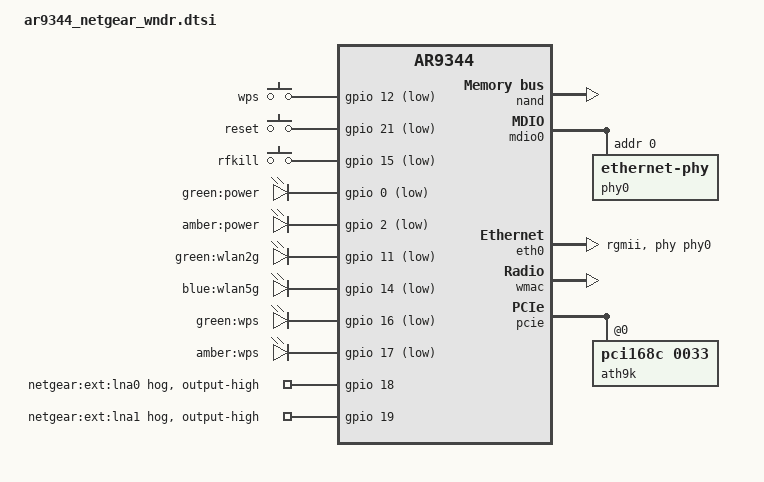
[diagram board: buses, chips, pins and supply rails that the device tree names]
// SPDX-License-Identifier: GPL-2.0-or-later OR MIT

#include "ar9344.dtsi"

#include <dt-bindings/gpio/gpio.h>
#include <dt-bindings/input/input.h>
#include <dt-bindings/mtd/partitions/uimage.h>

/ {
	chosen {
		bootargs = "console=ttyS0,115200n8";
	};

	aliases {
		led-boot = &led_power_amber;
		led-failsafe = &led_power_amber;
		led-running = &led_power_green;
		led-upgrade = &led_power_amber;
		label-mac-device = &eth0;
	};

	keys {
		compatible = "gpio-keys";

		wps {
			label = "wps";
			linux,code = <KEY_WPS_BUTTON>;
			gpios = <&gpio 12 GPIO_ACTIVE_LOW>;
		};

		reset {
			label = "reset";
			linux,code = <KEY_RESTART>;
			gpios = <&gpio 21 GPIO_ACTIVE_LOW>;
		};

		rfkill {
			label = "rfkill";
			linux,code = <KEY_RFKILL>;
			gpios = <&gpio 15 GPIO_ACTIVE_LOW>;
		};
	};

	leds: leds {
		compatible = "gpio-leds";

		pinctrl-names = "default";
		pinctrl-0 = <&enable_gpio_11>;

		led_power_green: power_green {
			label = "green:power";
			gpios = <&gpio 0 GPIO_ACTIVE_LOW>;
		};

		led_power_amber: power_amber {
			label = "amber:power";
			gpios = <&gpio 2 GPIO_ACTIVE_LOW>;
			default-state = "keep";
		};

		wlan2g_green {
			label = "green:wlan2g";
			gpios = <&gpio 11 GPIO_ACTIVE_LOW>;
			linux,default-trigger = "phy0tpt";
		};

		wlan5g_blue {
			label = "blue:wlan5g";
			gpios = <&gpio 14 GPIO_ACTIVE_LOW>;
			linux,default-trigger = "phy1tpt";
		};

		wps_green {
			label = "green:wps";
			gpios = <&gpio 16 GPIO_ACTIVE_LOW>;
		};

		wps_amber {
			label = "amber:wps";
			gpios = <&gpio 17 GPIO_ACTIVE_LOW>;
		};
	};

	ubi-concat {
		compatible = "mtd-concat";
		devices = <&ubiconcat0 &ubiconcat1>;

		partitions {
			compatible = "fixed-partitions";
			#address-cells = <1>;
			#size-cells = <1>;

			ubi@ac0000 {
				label = "ubi";
				reg = <0x0 0x7500000>;
			};
		};
	};
};

&pinmux {
	enable_gpio_11: pinmux_enable_gpio_11 {
		pinctrl-single,bits = <0x8 0x0 0xff000000>;
	};
};

&nand {
	status = "okay";

	partitions {
		compatible = "fixed-partitions";
		#address-cells = <1>;
		#size-cells = <1>;

		partition@0 {
			label = "u-boot";
			reg = <0x0 0x40000>;
			read-only;
		};

		partition@40000 {
			label = "u-boot-env";
			reg = <0x40000 0x40000>;
		};

		caldata: partition@80000 {
			label = "caldata";
			reg = <0x80000 0x40000>;
			read-only;
		};

		partition@c0000 {
			label = "pot";
			reg = <0xc0000 0x80000>;
		};

		partition@140000 {
			label = "language";
			reg = <0x140000 0x200000>;
		};

		partition@340000 {
			label = "config";
			reg = <0x340000 0x80000>;
		};

		partition@3c0000 {
			label = "traffic_meter";
			reg = <0x3c0000 0x300000>;
		};

		kernel@6c0000 {
			label = "kernel";
			reg = <0x6c0000 0x400000>;
		};

		ubiconcat0: partition@ac0000 {
			label = "ubiconcat0";
			reg = <0xac0000 0x1500000>;
		};

		partition@6c0000 {
			label = "firmware";
			reg = <0x6c0000 0x1900000>;
			compatible = "openwrt,uimage", "denx,uimage";
			openwrt,ih-magic = <0x33373033>;
			openwrt,ih-type = <IH_TYPE_FILESYSTEM>;
		};

		partition@1fc0000 {
			label = "caldata_backup";
			reg = <0x1fc0000 0x40000>;
			read-only;
		};

		ubiconcat1: partition@2000000 {
			label = "ubiconcat1";
			reg = <0x2000000 0x6000000>;
		};
	};
};

&ref {
	clock-frequency = <40000000>;
};

&builtin_switch {
	resets = <&rst 8>, <&rst 12>;
	reset-names = "switch", "switch-analog";
};

&mdio0 {
	status = "okay";

	phy-mask = <0>;

	phy0: ethernet-phy@0 {
		reg = <0>;
		phy-mode = "rgmii";
		qca,mib-poll-interval = <500>;

		qca,ar8327-initvals = <
			0x04 0x07600000
			0x0c 0x01000000
			0x10 0xc1000000
			0x50 0xcc35cc35
			0x54 0xcb37cb37
			0x58 0x00000000
			0x5c 0x00f3cf00
			0x7c 0x0000007e
			0x94 0x0000007e
			>;
	};
};

&eth0 {
	status = "okay";

	/* default for ar934x, except for 1000M */
	pll-data = <0x06000000 0x00000101 0x00001616>;

	nvmem-cells = <&macaddr_caldata_0>;
	nvmem-cell-names = "mac-address";

	phy-mode = "rgmii";
	phy-handle = <&phy0>;
};

&gpio {
	lna0 {
		gpio-hog;
		line-name = "netgear:ext:lna0";
		gpios = <18 GPIO_ACTIVE_HIGH>;
		output-high;
	};

	lna1 {
		gpio-hog;
		line-name = "netgear:ext:lna1";
		gpios = <19 GPIO_ACTIVE_HIGH>;
		output-high;
	};
};

&wmac {
	status = "okay";

	nvmem-cells = <&macaddr_caldata_0>;
	nvmem-cell-names = "mac-address";
	qca,no-eeprom;
};

&pcie {
	status = "okay";

	ath9k: wifi@0,0 {
		compatible = "pci168c,0033";
		reg = <0x0000 0 0 0 0>;
		nvmem-cells = <&macaddr_caldata_c>;
		nvmem-cell-names = "mac-address";
		qca,no-eeprom;
		#gpio-cells = <2>;
		gpio-controller;
	};
};

&caldata {
	compatible = "nvmem-cells";
	#address-cells = <1>;
	#size-cells = <1>;

	macaddr_caldata_0: macaddr@0 {
		reg = <0x0 0x6>;
	};

	macaddr_caldata_c: macaddr@c {
		reg = <0xc 0x6>;
	};
};
